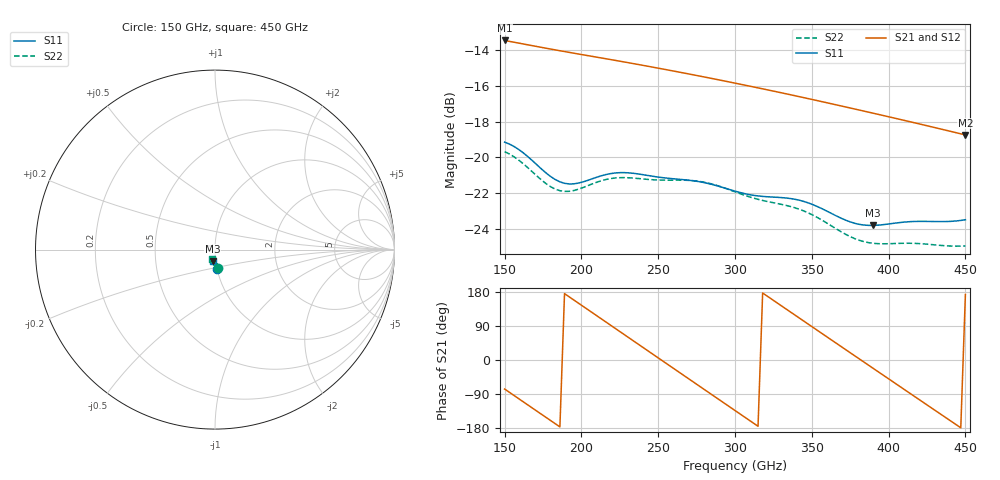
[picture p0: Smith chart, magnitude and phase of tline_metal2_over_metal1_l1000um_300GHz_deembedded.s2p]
! Created with skrf 2.0.1 (http://scikit-rf.org).
# GHz S DB R 50.0
!freq dBS11 angS11 dBS21 angS21 dBS12 angS12 dBS22 angS22
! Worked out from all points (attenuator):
!   101 points, 150 GHz to 450 GHz, reference 50 ohm
!   highest |S21| = -13.44 dB at 150 GHz (marker M1); lowest = -18.7 dB at 450 GHz (marker M2)
!   lowest |S11| = -23.8 dB at 390 GHz (marker M3), VSWR 1.14, Z = 48.4 - j6.14 ohm
!   |S11| at or under -10 dB: start of sweep to end of sweep
!   |S22| runs from -25.0 to -19.7 dB; largest |S21 - S12| = 3.1e-15
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150  -19.14 -83.5  -13.44 -76.6  -13.44 -76.6  -19.68 -81.8
162  -19.73 -87.3  -13.64 -109.9  -13.64 -109.9  -20.34 -84.7
177  -20.87 -88.4  -13.88 -151.6  -13.88 -151.6  -21.47 -84.3
189  -21.45 -85.3  -14.06 175.2  -14.06 175.2  -21.91 -80.5
201  -21.37 -82.4  -14.24 141.8  -14.24 141.8  -21.69 -77.8
213  -21.03 -82.7  -14.42 108.5  -14.42 108.5  -21.31 -78.6
225  -20.85 -85.2  -14.60 75.1  -14.60 75.1  -21.14 -81.4
240  -20.97 -88.7  -14.84 33.4  -14.84 33.4  -21.21 -84.8
252  -21.12 -90.7  -15.03 0.0  -15.03 0.0  -21.27 -86.9
264  -21.23 -92.5  -15.22 -33.3  -15.22 -33.3  -21.27 -89.5
276  -21.35 -94.8  -15.42 -66.7  -15.42 -66.7  -21.33 -92.8
288  -21.58 -97.1  -15.63 -100.0  -15.63 -100.0  -21.56 -96.4
300  -21.89 -98.6  -15.83 -133.3  -15.83 -133.3  -21.93 -99.3
312  -22.12 -99.2  -16.05 -166.6  -16.05 -166.6  -22.28 -101.1
324  -22.22 -100.0  -16.26 160.2  -16.26 160.2  -22.52 -102.7
339  -22.35 -102.3  -16.54 118.7  -16.54 118.7  -22.82 -105.6
351  -22.66 -104.4  -16.77 85.5  -16.77 85.5  -23.25 -108.2
372  -23.52 -104.7  -17.17 27.5  -17.17 27.5  -24.31 -109.3
390  -23.81 -101.4  -17.52 -22.1  -17.52 -22.1  -24.81 -106.5
402  -23.71 -100.0  -17.76 -55.2  -17.76 -55.2  -24.83 -105.2
423  -23.58 -99.7  -18.18 -113.0  -18.18 -113.0  -24.85 -105.3
450  -23.50 -98.1  -18.74 172.9  -18.74 172.9  -24.96 -104.5
